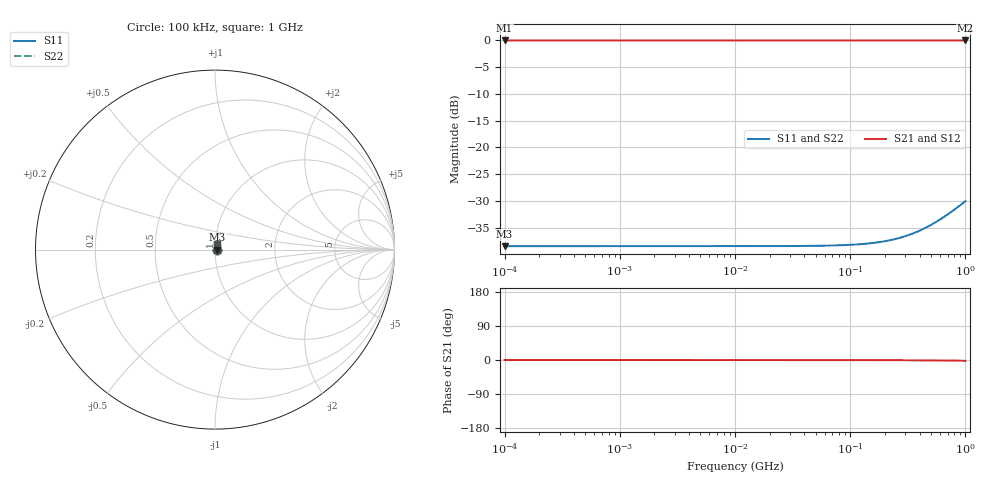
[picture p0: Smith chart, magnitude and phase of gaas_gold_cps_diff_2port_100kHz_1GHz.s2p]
# Hz S RI R 100
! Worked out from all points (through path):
!   10000 points, 100 kHz to 1 GHz, reference 100 ohm
!   highest |S21| = -0.11 dB at 100 kHz (marker M1); lowest = -0.1 dB at 1 GHz (marker M2)
!   lowest |S11| = -38.4 dB at 100 kHz (marker M3), VSWR 1.02, Z = 102 + j0.00059 ohm
!   |S11| at or under -10 dB: start of sweep to end of sweep
!   |S22| runs from -38.4 to -30.0 dB; largest |S21 - S12| = 4.4e-16
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100000  0.012 2.88e-06  0.988 -3.55e-06  0.988 -3.55e-06  0.012 2.88e-06
464372.7  0.012 1.34e-05  0.988 -1.65e-05  0.988 -1.65e-05  0.012 1.34e-05
2156420  0.012 6.21e-05  0.988 -7.65e-05  0.988 -7.65e-05  0.012 6.21e-05
1.000461e7  0.012 0.000288  0.988 -0.000355  0.988 -0.000355  0.012 0.000288
2.586076e7  0.012 0.000745  0.988 -0.000918  0.988 -0.000918  0.012 0.000745
4.645866e7  0.0121 0.00134  0.9879 -0.00165  0.9879 -0.00165  0.0121 0.00134
7.861213e7  0.0121 0.00227  0.9879 -0.00279  0.9879 -0.00279  0.0121 0.00227
9.707306e7  0.0121 0.0028  0.9879 -0.00345  0.9879 -0.00345  0.0121 0.0028
1.170326e8  0.0121 0.00337  0.9879 -0.00415  0.9879 -0.00415  0.0121 0.00337
1.389038e8  0.0121 0.004  0.9879 -0.00493  0.9879 -0.00493  0.0121 0.004
1.624505e8  0.0121 0.00468  0.9879 -0.00577  0.9879 -0.00577  0.0121 0.00468
1.879003e8  0.0121 0.00541  0.9879 -0.00667  0.9879 -0.00667  0.0121 0.00541
2.155427e8  0.0121 0.00621  0.9879 -0.00765  0.9879 -0.00765  0.0121 0.00621
2.617832e8  0.0121 0.00754  0.9879 -0.00929  0.9879 -0.00929  0.0121 0.00754
3.150285e8  0.0122 0.00908  0.9878 -0.0112  0.9878 -0.0112  0.0122 0.00908
3.76667e8  0.0122 0.0109  0.9878 -0.0134  0.9878 -0.0134  0.0122 0.0109
4.495368e8  0.0123 0.013  0.9877 -0.016  0.9877 -0.016  0.0123 0.013
5.330558e8  0.0123 0.0154  0.9877 -0.0189  0.9877 -0.0189  0.0123 0.0154
6.355948e8  0.0125 0.0183  0.9875 -0.0226  0.9875 -0.0226  0.0125 0.0183
7.740854e8  0.0127 0.0223  0.9873 -0.0275  0.9873 -0.0275  0.0127 0.0223
9.629381e8  0.013 0.0277  0.987 -0.0341  0.987 -0.0341  0.013 0.0277
1e9  0.0131 0.0288  0.9869 -0.0355  0.9869 -0.0355  0.0131 0.0288
